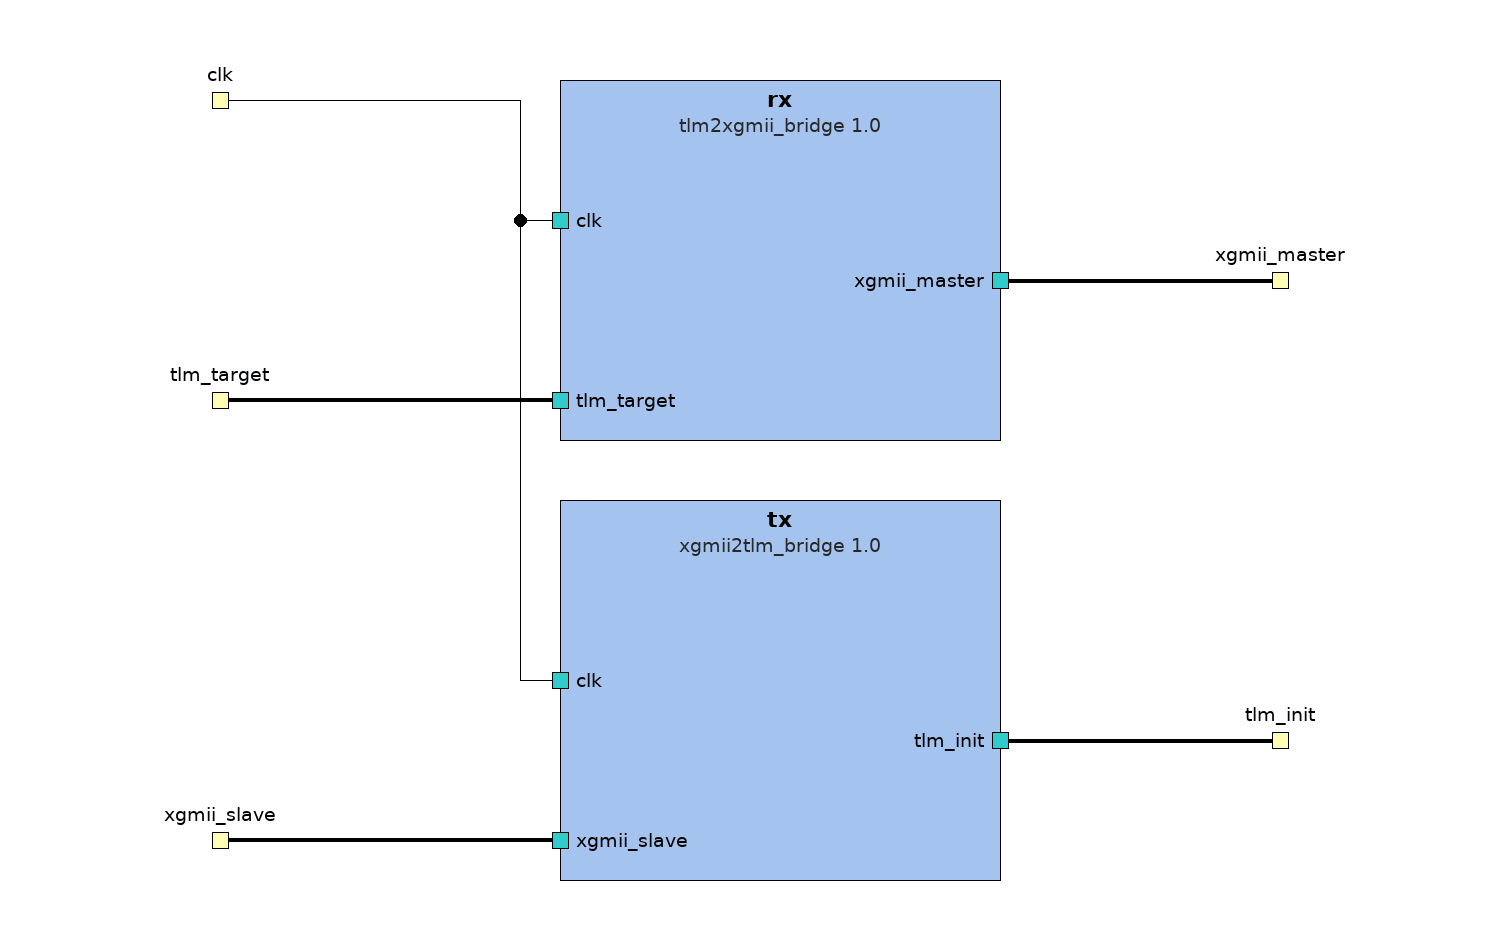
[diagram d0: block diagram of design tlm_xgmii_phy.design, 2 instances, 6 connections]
<?xml version="1.0" encoding="UTF-8"?>
<!-- // Copyright (c) 2019 Xilinx Inc.
// Written by Francisco Iglesias.
//
// Permission is hereby granted, free of charge, to any person obtaining a copy
// of this software and associated documentation files (the "Software"), to deal
// in the Software without restriction, including without limitation the rights
// to use, copy, modify, merge, publish, distribute, sublicense, and/or sell
// copies of the Software, and to permit persons to whom the Software is
// furnished to do so, subject to the following conditions:
//
// The above copyright notice and this permission notice shall be included in
// all copies or substantial portions of the Software.
//
// THE SOFTWARE IS PROVIDED "AS IS", WITHOUT WARRANTY OF ANY KIND, EXPRESS OR
// IMPLIED, INCLUDING BUT NOT LIMITED TO THE WARRANTIES OF MERCHANTABILITY,
// FITNESS FOR A PARTICULAR PURPOSE AND NONINFRINGEMENT. IN NO EVENT SHALL
// THE AUTHORS OR COPYRIGHT HOLDERS BE LIABLE FOR ANY CLAIM, DAMAGES OR OTHER
// LIABILITY, WHETHER IN AN ACTION OF CONTRACT, TORT OR OTHERWISE, ARISING FROM,
// OUT OF OR IN CONNECTION WITH THE SOFTWARE OR THE USE OR OTHER DEALINGS IN
// THE SOFTWARE. -->
<ipxact:design xmlns:xsi="http://www.w3.org/2001/XMLSchema-instance" xmlns:ipxact="http://www.accellera.org/XMLSchema/IPXACT/1685-2014" xmlns:kactus2="http://kactus2.cs.tut.fi" xsi:schemaLocation="http://www.accellera.org/XMLSchema/IPXACT/1685-2014 http://www.accellera.org/XMLSchema/IPXACT/1685-2014/index.xsd"><ipxact:vendor>xilinx.com</ipxact:vendor><ipxact:library>systemctlm-cosim-demo</ipxact:library>
 <ipxact:name>tlm_xgmii_phy.design</ipxact:name><ipxact:version>1.0</ipxact:version><ipxact:componentInstances>
 <ipxact:componentInstance><ipxact:instanceName>tx</ipxact:instanceName><ipxact:componentRef vendor="xilinx.com" library="libsystemctlm-soc" name="xgmii2tlm_bridge" version="1.0"/></ipxact:componentInstance>
 <ipxact:componentInstance><ipxact:instanceName>rx</ipxact:instanceName><ipxact:componentRef vendor="xilinx.com" library="libsystemctlm-soc" name="tlm2xgmii_bridge" version="1.0"/></ipxact:componentInstance>
</ipxact:componentInstances><ipxact:interconnections>
 <ipxact:interconnection><ipxact:name>rx_tlm_target_to_tlm_target</ipxact:name><ipxact:activeInterface componentRef="rx" busRef="tlm_target"/><ipxact:hierInterface busRef="tlm_target"/></ipxact:interconnection>
 <ipxact:interconnection><ipxact:name>tx_xgmii_slave_to_xgmii_slave</ipxact:name><ipxact:activeInterface componentRef="tx" busRef="xgmii_slave"/><ipxact:hierInterface busRef="xgmii_slave"/></ipxact:interconnection>
 <ipxact:interconnection><ipxact:name>rx_xgmii_master_to_xgmii_master</ipxact:name><ipxact:activeInterface componentRef="rx" busRef="xgmii_master"/><ipxact:hierInterface busRef="xgmii_master"/></ipxact:interconnection>
 <ipxact:interconnection><ipxact:name>tx_tlm_init_to_tlm_init</ipxact:name><ipxact:activeInterface componentRef="tx" busRef="tlm_init"/><ipxact:hierInterface busRef="tlm_init"/></ipxact:interconnection>
</ipxact:interconnections><ipxact:adHocConnections>
 <ipxact:adHocConnection><ipxact:name>rx_clk_to_clk</ipxact:name><ipxact:portReferences><ipxact:internalPortReference componentRef="rx" portRef="clk"/><ipxact:externalPortReference portRef="clk"/></ipxact:portReferences></ipxact:adHocConnection>
 <ipxact:adHocConnection><ipxact:name>tx_clk_to_clk</ipxact:name><ipxact:portReferences><ipxact:internalPortReference componentRef="tx" portRef="clk"/><ipxact:externalPortReference portRef="clk"/></ipxact:portReferences></ipxact:adHocConnection>
</ipxact:adHocConnections></ipxact:design>

